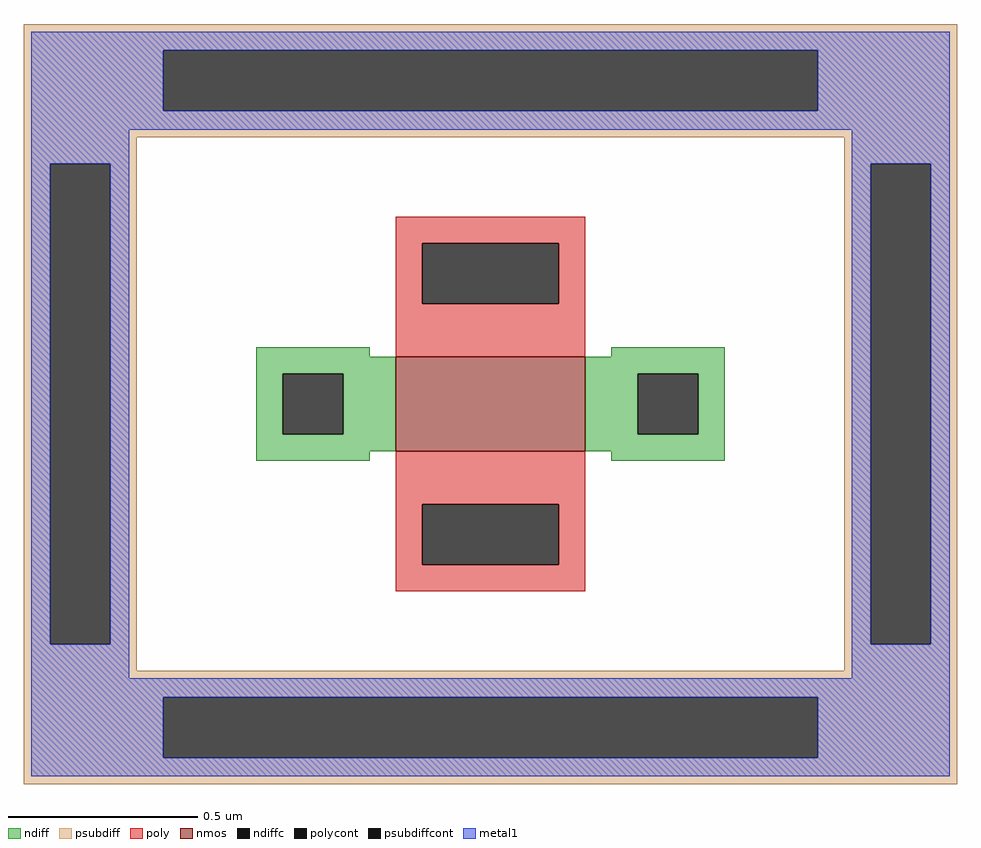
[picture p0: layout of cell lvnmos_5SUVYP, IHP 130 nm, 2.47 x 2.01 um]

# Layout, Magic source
magic
tech ihp-sg13g2
magscale 1 2
<< nmos >>
rect -50 -25 50 25
<< ndiff >>
rect -124 25 -64 30
rect 64 25 124 30
rect -124 16 -50 25
rect -124 -16 -110 16
rect -78 -16 -50 16
rect -124 -25 -50 -16
rect 50 16 124 25
rect 50 -16 78 16
rect 110 -16 124 16
rect 50 -25 124 -16
rect -124 -30 -64 -25
rect 64 -30 124 -25
<< ndiffc >>
rect -110 -16 -78 16
rect 78 -16 110 16
<< psubdiff >>
rect -247 187 247 201
rect -247 155 -173 187
rect 173 155 247 187
rect -247 141 247 155
rect -247 127 -187 141
rect -247 -127 -233 127
rect -201 -127 -187 127
rect 187 127 247 141
rect -247 -141 -187 -127
rect 187 -127 201 127
rect 233 -127 247 127
rect 187 -141 247 -127
rect -247 -155 247 -141
rect -247 -187 -173 -155
rect 173 -187 247 -155
rect -247 -201 247 -187
<< psubdiffcont >>
rect -173 155 173 187
rect -233 -127 -201 127
rect 201 -127 233 127
rect -173 -187 173 -155
<< poly >>
rect -50 85 50 99
rect -50 53 -36 85
rect 36 53 50 85
rect -50 25 50 53
rect -50 -53 50 -25
rect -50 -85 -36 -53
rect 36 -85 50 -53
rect -50 -99 50 -85
<< polycont >>
rect -36 53 36 85
rect -36 -85 36 -53
<< metal1 >>
rect -243 187 243 197
rect -243 155 -173 187
rect 173 155 243 187
rect -243 145 243 155
rect -243 127 -191 145
rect -243 -127 -233 127
rect -201 -127 -191 127
rect 191 127 243 145
rect -243 -145 -191 -127
rect 191 -127 201 127
rect 233 -127 243 127
rect 191 -145 243 -127
rect -243 -155 243 -145
rect -243 -187 -173 -155
rect 173 -187 243 -155
rect -243 -197 243 -187
<< properties >>
string gencell lvnmos
string library sg13g2_devstdin
string parameters w 0.25 l 0.5 nf 1 nx 1 dx 0.21 ny 1 dy 0.18 wmin 0.50 lmin 0.50 class mosfet gcontcov_t 100 gcontcov_b 100 dcontcov_l 100 dcontcov_r 100 guard_distf 1.5 glc 1 grc 1 gtc 1 gbc 1
<< end >>
